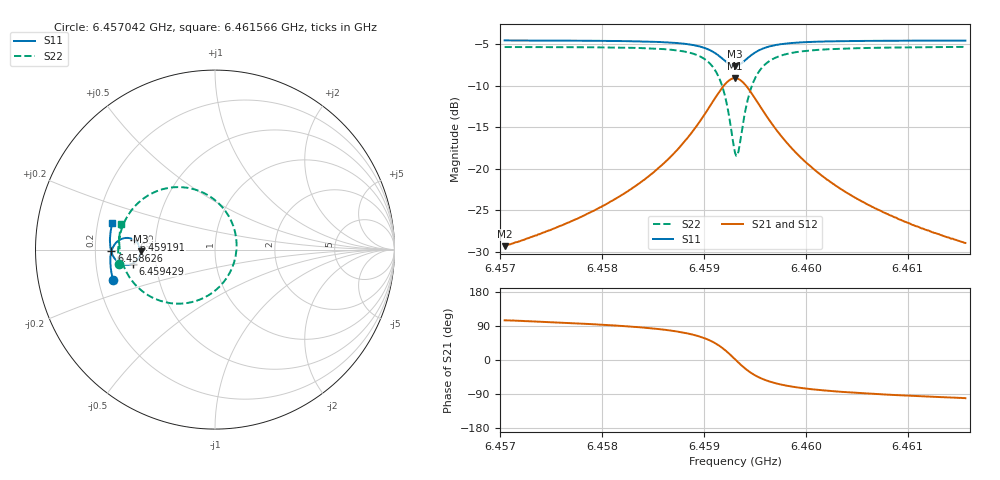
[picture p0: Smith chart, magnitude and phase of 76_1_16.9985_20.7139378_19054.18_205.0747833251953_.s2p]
#  HZ  S  RI  R  50.00
! Rohde & Schwarz Vector Network Analyzer
! Rohde-Schwarz,ZNB20-2Port,1311601062101988,3.16
! Created: UTC 3/20/2024, 10:55:25 PM
! freq[Hz]  re:S11  im:S11  re:S21  im:S21  re:S12  im:S12  re:S22  im:S22
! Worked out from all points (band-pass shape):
!   401 points, 6.457042 GHz to 6.461566 GHz, reference 50 ohm
!   highest |S21| = -9.10 dB at 6.459304 GHz (marker M1); lowest = -29.3 dB at 6.457042 GHz (marker M2)
!   |S21| within 3 dB of the highest: 6.459077 GHz to 6.45953 GHz (452.8 kHz wide, 0.00701 % of centre)
!   lowest |S11| = -7.6 dB at 6.459304 GHz (marker M3), VSWR 2.42, Z = 20.7 - j0.524 ohm
!   |S11| at or under -10 dB: nowhere
!   |S22| runs from -18.5 to -5.3 dB; largest |S21 - S12| = 0.014
!   S11 on the Smith chart (normalised r, x): 6.457042 GHz: 0.26, -0.14; 6.458626 GHz: 0.27, -0.01; 6.459191 GHz: 0.38, +0.05; 6.459429 GHz: 0.37, -0.07; 6.461566 GHz: 0.26, +0.12
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6.457042e9  -0.5674 -0.1686  -0.00866 0.033  -0.00699 0.033  -0.5346 -0.0783
6.4577999e9  -0.5809 -0.102  -0.0053 0.0513  -0.0027 0.0506  -0.5388 0.0115
6.4582297e9  -0.5836 -0.0585  0.00109 0.0717  0.00436 0.0703  -0.5294 0.081
6.4585577e9  -0.5794 -0.0187  0.0151 0.1003  0.019 0.0975  -0.5034 0.1567
6.4586256e9  -0.577 -0.00912  0.0203 0.1086  0.0246 0.1055  -0.4932 0.1767
6.4588178e9  -0.5642 0.0213  0.0476 0.14  0.0518 0.1351  -0.4421 0.2461
6.4589649e9  -0.5411 0.0477  0.0937 0.1709  0.0969 0.1641  -0.3569 0.3107
6.4591006e9  -0.4963 0.065  0.1826 0.1872  0.1835 0.1797  -0.1948 0.3481
6.4591911e9  -0.451 0.0542  0.2737 0.1546  0.2739 0.1489  -0.0263 0.295
6.459259e9  -0.4215 0.0213  0.3347 0.0812  0.337 0.0759  0.0893 0.1622
6.4593042e9  -0.4148 -0.0105  0.3506 0.0121  0.3545 0.00511  0.1204 0.033
6.4593381e9  -0.4188 -0.0345  0.3444 -0.041  0.3484 -0.0503  0.1074 -0.0676
6.4593834e9  -0.4348 -0.0611  0.3149 -0.1015  0.3172 -0.1136  0.0477 -0.1815
6.4594286e9  -0.4572 -0.0776  0.272 -0.1428  0.271 -0.1563  -0.0392 -0.2563
6.4595191e9  -0.5013 -0.0846  0.1859 -0.1737  0.1796 -0.1853  -0.2105 -0.3013
6.459587e9  -0.526 -0.0774  0.1369 -0.1715  0.1289 -0.1804  -0.3046 -0.2853
6.4596661e9  -0.5457 -0.0641  0.097 -0.1592  0.0884 -0.1653  -0.3793 -0.25
6.4598245e9  -0.5677 -0.0364  0.0516 -0.1307  0.044 -0.1334  -0.4601 -0.1768
6.460062e9  -0.5806 -0.00106  0.0225 -0.0987  0.0165 -0.0992  -0.5082 -0.0936
6.46039e9  -0.5854 0.0385  0.00649 -0.072  0.00246 -0.0716  -0.5289 -0.0163
6.4608199e9  -0.5837 0.0822  -0.00143 -0.0525  -0.00441 -0.0517  -0.5335 0.054
6.4615664e9  -0.5721 0.1487  -0.00672 -0.0351  -0.00828 -0.0341  -0.5221 0.1431
